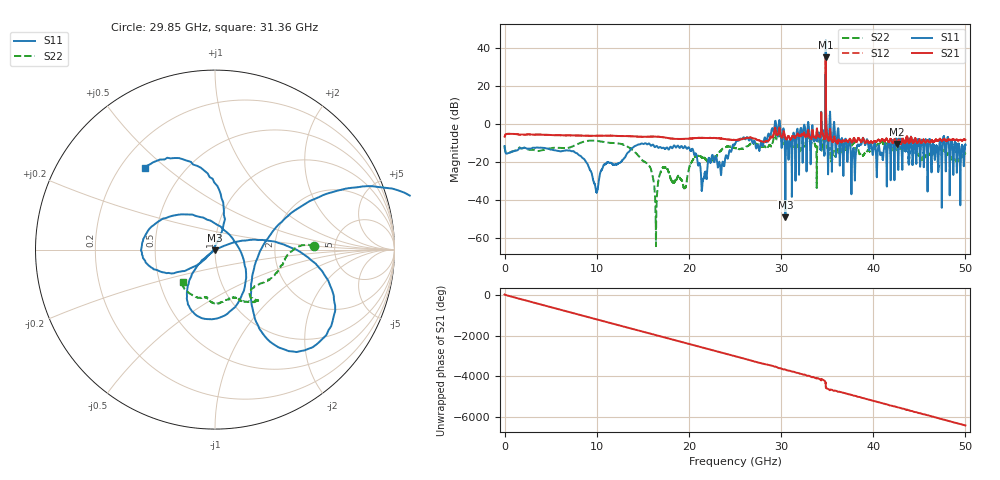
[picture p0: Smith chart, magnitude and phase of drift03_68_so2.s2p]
!Created with skrf (http://scikit-rf.org).
# Hz S RI R 50.0
!freq ReS11 ImS11 ReS21 ImS21 ReS12 ImS12 ReS22 ImS22
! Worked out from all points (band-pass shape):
!   10001 points, 300 kHz to 50 GHz, reference 50 ohm
!   highest |S21| = 35.28 dB at 34.85 GHz (marker M1); lowest = -10.4 dB at 42.56 GHz (marker M2)
!   |S21| within 3 dB of the highest: 34.84427 GHz to 34.84571 GHz (1.448 MHz wide, 0.00415 % of centre)
!   lowest |S11| = -49.0 dB at 30.47 GHz (marker M3), VSWR 1.01, Z = 49.8 - j0.303 ohm
!   |S11| at or under -10 dB: start of sweep to 15.23 GHz; 15.31 GHz to 25.05 GHz (9.738 GHz wide, 48.3 % of centre); 40.22 GHz to 41.61 GHz (1.391 GHz wide, 3.4 % of centre) (the widest 3 of 51)
!   |S22| runs from -64.2 to 26.2 dB; largest |S21 - S12| = 8.1
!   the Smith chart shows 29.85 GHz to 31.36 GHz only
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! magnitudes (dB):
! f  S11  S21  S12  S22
! 300 kHz  -11.4  -6.5  -6.5  -11.4
! 8.335 GHz  -17.1  -6.0  -6.0  -9.6
! 9.955 GHz  -35.7  -6.1  -6.1  -8.7
! 10.91 GHz  -21.1  -6.0  -6.1  -9.4
! 13.8 GHz  -12.6  -6.3  -6.3  -13.3
! 16.37 GHz  -11.9  -6.5  -6.5  -43.3
! 16.67 GHz  -12.4  -6.5  -6.5  -30.1
! 17.34 GHz  -12.8  -6.9  -6.9  -22.9
! 19.55 GHz  -11.7  -7.7  -7.7  -33.7
! 20.22 GHz  -13.8  -7.5  -7.5  -20.4
! 21.55 GHz  -28.8  -7.2  -7.1  -17.7
! 25 GHz  -10.5  -8.2  -8.2  -12.5
! 29.6 GHz  -5.5  -5.7  -5.9  -7.8
! 30.47 GHz  -49.0  -7.2  -7.2  -9.1
! 33.34 GHz  -3.8  -6.8  -6.7  -9.3
! 34.85 GHz  44.1  35.3  35.0  26.2
! 35.62 GHz  -7.1  -9.3  -9.1  -15.9
! 37.83 GHz  -12.8  -8.2  -8.2  -9.6
! 38.82 GHz  -8.3  -8.0  -8.0  -16.3
! 41.67 GHz  -9.1  -9.4  -9.3  -11.4
! 42.56 GHz  -8.2  -10.4  -10.5  -13.5
! 50 GHz  -10.9  -8.2  -8.3  -15.6
